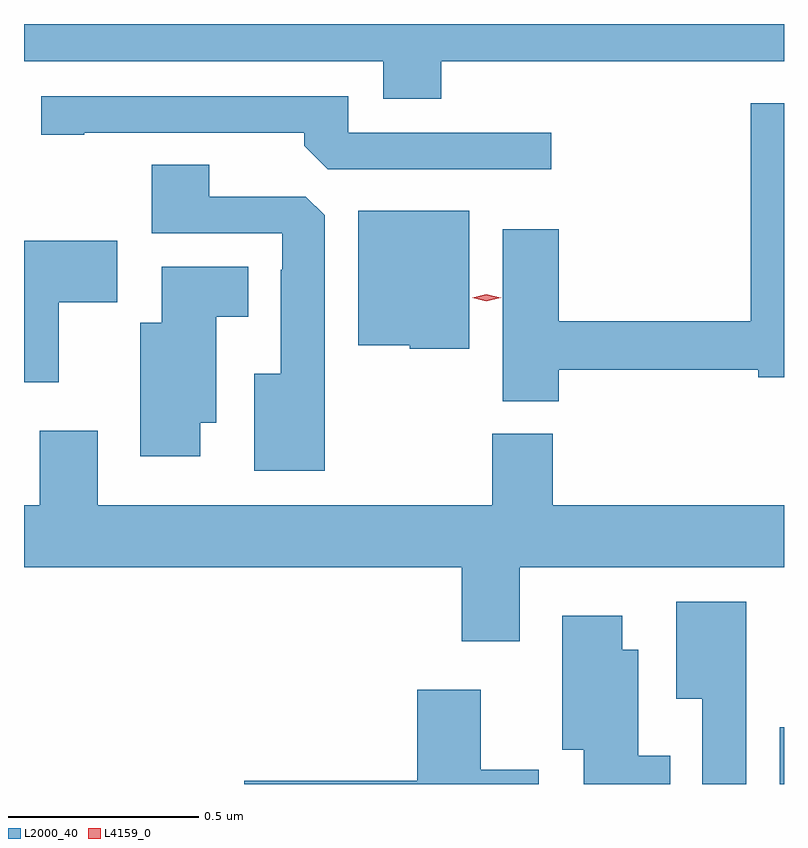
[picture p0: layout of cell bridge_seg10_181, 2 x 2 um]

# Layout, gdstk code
import gdstk
lib = gdstk.Library(unit=1e-6, precision=1e-09)
def R(c, l, rs):  # rectangles x0, y0, x1, y1
    for r in rs: c.add(gdstk.rectangle(r[:2], r[2:], *l))
def P(c, l, *ps):  # polygons
    for p in ps: c.add(gdstk.Polygon(p, *l))
L2000_40 = (2000, 40)
L4159_0 = (4159, 0)

bridge_seg10_181 = lib.new_cell('bridge_seg10_181')
R(bridge_seg10_181, L2000_40, [(184.061,1289.09,184.072,1289.239)])
P(bridge_seg10_181, L2000_40, [(183.17,1290.992),(184.072,1290.992),(184.072,1291.09),(182.072,1291.09),(182.072,1290.992),(183.017,1290.992),(183.017,1290.893),(183.17,1290.893)],
  [(183.46,1290.804),(182.925,1290.804),(182.925,1290.9),(182.118,1290.9),(182.118,1290.799),(182.23,1290.799),(182.23,1290.804),(182.81,1290.804),(182.81,1290.77),(182.871,1290.708),(183.46,1290.708)],
  [(183.479,1290.18),(184.004,1290.18),(184.004,1290.161),(184.072,1290.161),(184.072,1290.882),(183.985,1290.882),(183.985,1290.308),(183.479,1290.308),(183.479,1290.55),(183.332,1290.55),(183.332,1290.097),(183.479,1290.097)],
  [(182.863,1290.587),(182.814,1290.636),(182.56,1290.636),(182.56,1290.719),(182.408,1290.719),(182.408,1290.54),(182.751,1290.54),(182.751,1290.443),(182.747,1290.443),(182.747,1290.169),(182.678,1290.169),(182.678,1289.915),(182.863,1289.915)],
  [(183.244,1290.598),(182.951,1290.598),(182.951,1290.245),(183.087,1290.245),(183.087,1290.236),(183.244,1290.236)],
  [(182.164,1290.358),(182.317,1290.358),(182.317,1290.52),(182.072,1290.52),(182.072,1290.147),(182.164,1290.147)],
  [(182.536,1290.041),(182.578,1290.041),(182.578,1290.32),(182.662,1290.32),(182.662,1290.451),(182.435,1290.451),(182.435,1290.304),(182.378,1290.304),(182.378,1289.952),(182.536,1289.952)],
  [(183.376,1289.66),(184.072,1289.66),(184.072,1289.824),(183.464,1289.824),(183.464,1290.012),(183.304,1290.012),(183.304,1289.824),(182.266,1289.824),(182.266,1290.019),(182.114,1290.019),(182.114,1289.824),(182.072,1289.824),(182.072,1289.66),(183.224,1289.66),(183.224,1289.466),(183.376,1289.466)],
  [(183.973,1289.569),(183.788,1289.569),(183.788,1289.315),(183.857,1289.315),(183.857,1289.09),(183.973,1289.09)],
  [(183.772,1289.164),(183.688,1289.164),(183.688,1289.443),(183.646,1289.443),(183.646,1289.533),(183.488,1289.533),(183.488,1289.18),(183.545,1289.18),(183.545,1289.09),(183.772,1289.09)],
  [(183.427,1289.127),(183.274,1289.127),(183.274,1289.338),(183.107,1289.338),(183.107,1289.099),(182.652,1289.099),(182.652,1289.09),(183.427,1289.09)])
P(bridge_seg10_181, L4159_0, [(183.289,1290.36),(183.251,1290.37),(183.251,1290.37),(183.251,1290.37),(183.289,1290.379),(183.327,1290.369),(183.328,1290.369),(183.327,1290.369)])

lib.write_gds('bridge_seg10_181.gds')
